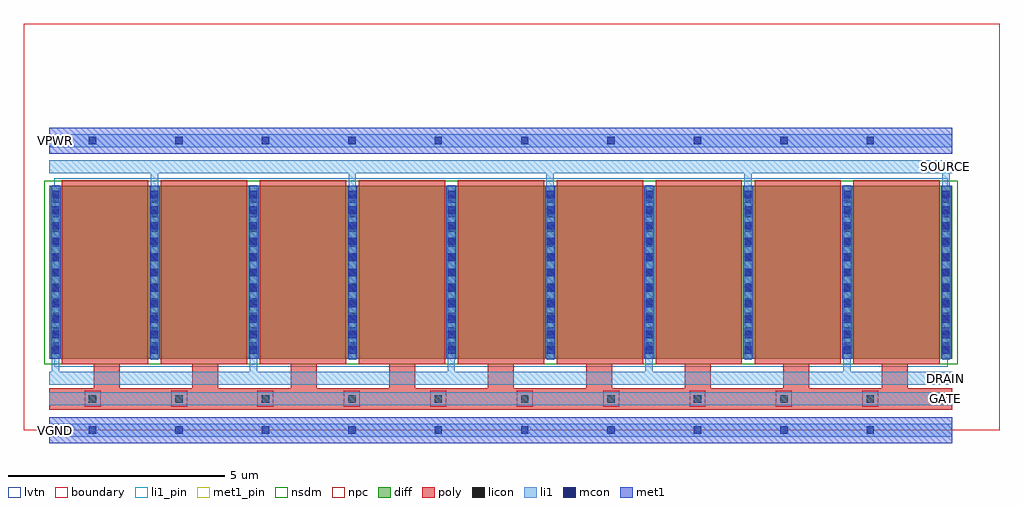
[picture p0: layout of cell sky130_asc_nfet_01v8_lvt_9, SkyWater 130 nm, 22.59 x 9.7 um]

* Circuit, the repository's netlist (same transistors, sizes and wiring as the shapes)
* NGSPICE file created from sky130_asc_nfet_01v8_lvt_9.ext - technology: sky130A

.subckt sky130_asc_nfet_01v8_lvt_9 GATE SOURCE DRAIN VPWR VGND
X0 SOURCE GATE DRAIN VGND sky130_fd_pr__nfet_01v8_lvt ad=5.8e+12p pd=4.29e+07u as=5.8e+12p ps=4.29e+07u w=4e+06u l=2e+06u
X1 DRAIN GATE SOURCE VGND sky130_fd_pr__nfet_01v8_lvt ad=0p pd=0u as=0p ps=0u w=4e+06u l=2e+06u
X2 SOURCE GATE DRAIN VGND sky130_fd_pr__nfet_01v8_lvt ad=0p pd=0u as=0p ps=0u w=4e+06u l=2e+06u
X3 DRAIN GATE SOURCE VGND sky130_fd_pr__nfet_01v8_lvt ad=0p pd=0u as=0p ps=0u w=4e+06u l=2e+06u
X4 SOURCE GATE DRAIN VGND sky130_fd_pr__nfet_01v8_lvt ad=0p pd=0u as=0p ps=0u w=4e+06u l=2e+06u
X5 DRAIN GATE SOURCE VGND sky130_fd_pr__nfet_01v8_lvt ad=0p pd=0u as=0p ps=0u w=4e+06u l=2e+06u
X6 SOURCE GATE DRAIN VGND sky130_fd_pr__nfet_01v8_lvt ad=0p pd=0u as=0p ps=0u w=4e+06u l=2e+06u
X7 SOURCE GATE DRAIN VGND sky130_fd_pr__nfet_01v8_lvt ad=0p pd=0u as=0p ps=0u w=4e+06u l=2e+06u
X8 DRAIN GATE SOURCE VGND sky130_fd_pr__nfet_01v8_lvt ad=0p pd=0u as=0p ps=0u w=4e+06u l=2e+06u
.ends

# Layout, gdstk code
import gdstk
lib = gdstk.Library(unit=1e-6, precision=1e-09)
def R(c, l, rs):  # rectangles x0, y0, x1, y1
    for r in rs: c.add(gdstk.rectangle(r[:2], r[2:], *l))
def A(c, l, x, y, w, h, nx, ny, dx, dy):  # array of equal rectangles
    R(c, l, [(x+i*dx, y+j*dy, x+i*dx+w, y+j*dy+h) for i in range(nx) for j in range(ny)])
diff = (65, 20)
poly = (66, 20)
licon = (66, 44)
li1_pin = (67, 16)
li1 = (67, 20)
mcon = (67, 44)
met1_pin = (68, 16)
met1 = (68, 20)
nsdm = (93, 44)
npc = (95, 20)
lvtn = (125, 44)
boundary = (235, 4)

sky130_asc_nfet_01v8_lvt = lib.new_cell('sky130_asc_nfet_01v8_lvt_9')
R(sky130_asc_nfet_01v8_lvt, diff, [(0.6,1.65,21.5,5.65)])
A(sky130_asc_nfet_01v8_lvt, poly, 1.63, 0.97, 0.6, 0.55, 9, 1, 2.28, 0)
A(sky130_asc_nfet_01v8_lvt, poly, 0.89, 1.52, 2, 4.26, 9, 1, 2.29, 0)
R(sky130_asc_nfet_01v8_lvt, poly, [(0.6,0.47,21.5,0.97)])
A(sky130_asc_nfet_01v8_lvt, licon, 1.515, 0.635, 0.17, 0.17, 10, 1, 2, 0)
A(sky130_asc_nfet_01v8_lvt, licon, 0.66, 1.865, 0.17, 0.17, 10, 11, 2.29, 0.34)
R(sky130_asc_nfet_01v8_lvt, li1_pin, [(21.2,0.57,21.5,0.87), (21.2,1.05,21.5,1.35), (21.2,5.95,21.5,6.25)])
A(sky130_asc_nfet_01v8_lvt, li1, 0.655, 1.35, 0.17, 0.28, 5, 1, 4.58, 0)
A(sky130_asc_nfet_01v8_lvt, li1, 0.655, 1.63, 0.175, 0.29, 5, 1, 4.58, 0)
A(sky130_asc_nfet_01v8_lvt, li1, 2.95, 1.63, 0.17, 3.75, 5, 1, 4.58, 0)
A(sky130_asc_nfet_01v8_lvt, li1, 0.66, 1.92, 0.17, 3.75, 5, 1, 4.58, 0)
A(sky130_asc_nfet_01v8_lvt, li1, 2.945, 5.38, 0.175, 0.29, 5, 1, 4.58, 0)
A(sky130_asc_nfet_01v8_lvt, li1, 2.945, 5.67, 0.17, 0.28, 5, 1, 4.58, 0)
R(sky130_asc_nfet_01v8_lvt, li1, [(0.6,-0.15,21.5,0.15), (0.6,0.57,21.5,0.87), (0.6,1.05,21.5,1.35), (0.6,5.95,21.5,6.25), (0.6,6.55,21.5,6.85)])
A(sky130_asc_nfet_01v8_lvt, mcon, 1.515, -0.085, 0.17, 0.17, 10, 2, 2, 6.7)
A(sky130_asc_nfet_01v8_lvt, mcon, 0.66, 1.765, 0.17, 0.17, 10, 11, 2.29, 0.36)
R(sky130_asc_nfet_01v8_lvt, met1_pin, [(0.6,-0.15,0.9,0.15), (0.6,6.55,0.9,6.85)])
A(sky130_asc_nfet_01v8_lvt, met1, 0.63, 1.65, 0.23, 4, 10, 1, 2.29, 0)
R(sky130_asc_nfet_01v8_lvt, met1, [(0.6,-0.3,21.5,0.3), (0.6,6.4,21.5,7)])
R(sky130_asc_nfet_01v8_lvt, nsdm, [(0.475,1.525,21.625,5.775)])
A(sky130_asc_nfet_01v8_lvt, npc, 1.415, 0.535, 0.37, 0.37, 10, 1, 2, 0)
R(sky130_asc_nfet_01v8_lvt, lvtn, [(0.71,1.47,21.39,5.83)])
R(sky130_asc_nfet_01v8_lvt, boundary, [(0,0,22.59,9.4)])
sky130_asc_nfet_01v8_lvt.add(gdstk.Label('GATE', (21.35,0.72), layer=67, texttype=16))
sky130_asc_nfet_01v8_lvt.add(gdstk.Label('SOURCE', (21.35,6.1), layer=67, texttype=16))
sky130_asc_nfet_01v8_lvt.add(gdstk.Label('DRAIN', (21.35,1.2), layer=67, texttype=16))
sky130_asc_nfet_01v8_lvt.add(gdstk.Label('VPWR', (0.75,6.7), layer=68, texttype=16))
sky130_asc_nfet_01v8_lvt.add(gdstk.Label('VGND', (0.75,0), layer=68, texttype=16))

lib.write_gds('sky130_asc_nfet_01v8_lvt_9.gds')
